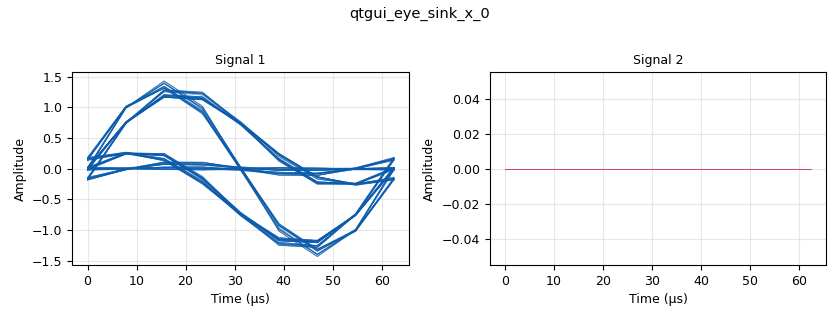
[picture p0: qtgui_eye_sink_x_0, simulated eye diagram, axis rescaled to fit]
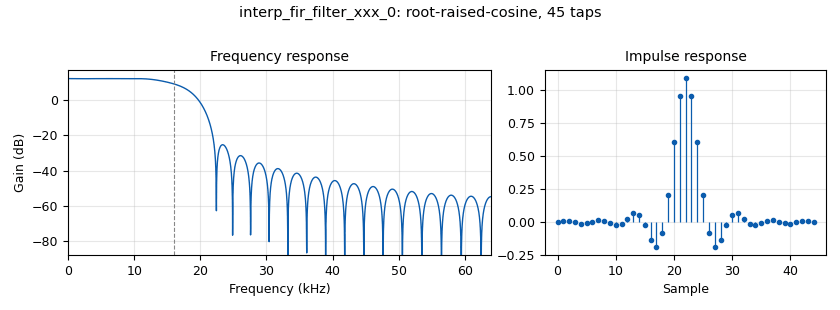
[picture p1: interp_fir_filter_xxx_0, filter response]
options:
  parameters:
    author: Pc
    generate_options: qt_gui
    id: plus_shaping
    output_language: python
    title: Not titled yet
  states: {}

blocks:
- name: samp_rate
  id: variable
  parameters:
    value: '32000'
  states: {}
- name: sps
  id: variable
  parameters:
    value: '4'
  states: {}
- name: analog_random_source_x_0
  id: analog_random_source_x
  parameters:
    max: '2'
    min: '0'
    num_samps: '1000'
    repeat: 'True'
    type: byte
  states: {}
- name: blocks_throttle2_0
  id: blocks_throttle2
  parameters:
    samples_per_second: samp_rate
    type: byte
  states: {}
- name: digital_chunks_to_symbols_xx_0
  id: digital_chunks_to_symbols_xx
  parameters:
    dimension: '2'
    in_type: byte
    out_type: complex
    symbol_table: '[-1, 1]'
  states: {}
- name: interp_fir_filter_xxx_0
  id: interp_fir_filter_xxx
  parameters:
    interp: sps
    taps: firdes.root_raised_cosine(sps, samp_rate * sps, samp_rate, 0.35, 11 * sps)
    type: ccc
  states: {}
- name: qtgui_eye_sink_x_0
  id: qtgui_eye_sink_x
  parameters:
    samp_per_symbol: sps
    size: '1024'
    srate: samp_rate*sps
    type: complex
  states: {}

connections:
- [analog_random_source_x_0, '0', blocks_throttle2_0, '0']
- [blocks_throttle2_0, '0', digital_chunks_to_symbols_xx_0, '0']
- [digital_chunks_to_symbols_xx_0, '0', interp_fir_filter_xxx_0, '0']
- [interp_fir_filter_xxx_0, '0', qtgui_eye_sink_x_0, '0']

metadata:
  file_format: 1
  grc_version: 3.10.12.0
